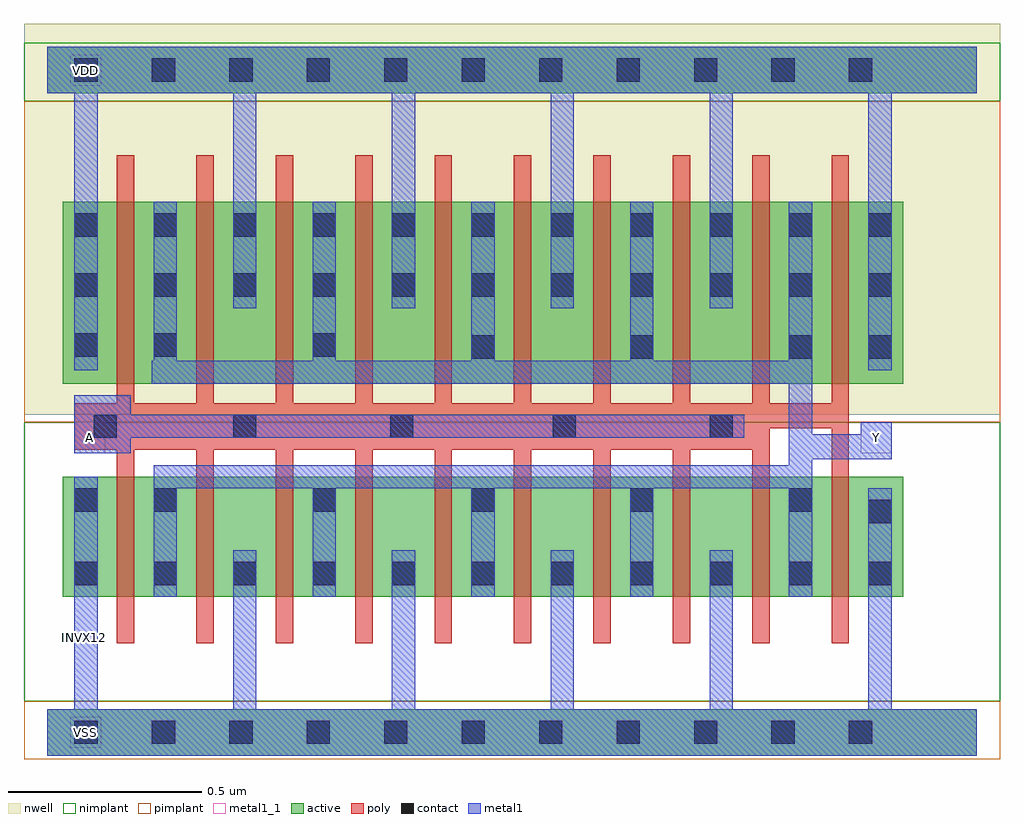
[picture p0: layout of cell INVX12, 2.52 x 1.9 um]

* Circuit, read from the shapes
.subckt INVX12 A VDD VSS Y
M1 Y A VSS VSS nfet w=0.31u l=0.045u m=10
M2 Y A VDD VDD pfet w=0.47u l=0.045u m=10
.ends

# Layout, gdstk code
import gdstk
lib = gdstk.Library(unit=1e-6, precision=5e-10)
def R(c, l, rs):  # rectangles x0, y0, x1, y1
    for r in rs: c.add(gdstk.rectangle(r[:2], r[2:], *l))
def A(c, l, x, y, w, h, nx, ny, dx, dy):  # array of equal rectangles
    R(c, l, [(x+i*dx, y+j*dy, x+i*dx+w, y+j*dy+h) for i in range(nx) for j in range(ny)])
def P(c, l, *ps):  # polygons
    for p in ps: c.add(gdstk.Polygon(p, *l))
active = (1, 0)
nwell = (2, 0)
poly = (3, 0)
nimplant = (4, 0)
pimplant = (5, 0)
contact = (6, 0)
metal1 = (7, 0)
metal1_1 = (7, 1)

invx12 = lib.new_cell('INVX12')
R(invx12, active, [(0,-0.06,2.4,0.06), (0.04,0.35,2.21,0.66), (0.04,0.9,2.21,1.37), (0,1.65,2.4,1.77)])
R(invx12, nwell, [(-0.06,0.82,2.46,1.83)])
P(invx12, poly, [(2.07,1.49),(2.025,1.49),(2.025,0.85),(1.865,0.85),(1.865,1.49),(1.82,1.49),(1.82,0.85),(1.66,0.85),(1.66,1.49),(1.615,1.49),(1.615,0.85),(1.455,0.85),(1.455,1.49),(1.41,1.49),(1.41,0.85),(1.25,0.85),(1.25,1.49),(1.205,1.49),(1.205,0.85),(1.045,0.85),(1.045,1.49),(1,1.49),(1,0.85),(0.84,0.85),(0.84,1.49),(0.795,1.49),(0.795,0.85),(0.635,0.85),(0.635,1.49),(0.59,1.49),(0.59,0.85),(0.43,0.85),(0.43,1.49),(0.385,1.49),(0.385,0.85),(0.225,0.85),(0.225,1.49),(0.18,1.49),(0.18,0.85),(0.07,0.85),(0.07,0.73),(0.18,0.73),(0.18,0.23),(0.225,0.23),(0.225,0.73),(0.385,0.73),(0.385,0.23),(0.43,0.23),(0.43,0.73),(0.59,0.73),(0.59,0.23),(0.635,0.23),(0.635,0.73),(0.795,0.73),(0.795,0.23),(0.84,0.23),(0.84,0.73),(1,0.73),(1,0.23),(1.045,0.23),(1.045,0.73),(1.205,0.73),(1.205,0.23),(1.25,0.23),(1.25,0.73),(1.41,0.73),(1.41,0.23),(1.455,0.23),(1.455,0.73),(1.615,0.73),(1.615,0.23),(1.66,0.23),(1.66,0.73),(1.82,0.73),(1.82,0.23),(1.865,0.23),(1.865,0.785),(2.025,0.785),(2.025,0.23),(2.07,0.23)])
R(invx12, nimplant, [(-0.06,0.08,2.46,0.8), (-0.06,1.63,2.46,1.78)])
R(invx12, pimplant, [(-0.06,-0.07,2.46,0.08), (-0.06,0.8,2.46,1.63)])
A(invx12, contact, 0.07, -0.03, 0.06, 0.06, 11, 2, 0.2, 1.71)
A(invx12, contact, 0.07, 0.38, 0.06, 0.06, 11, 2, 0.205, 0.745)
A(invx12, contact, 0.275, 0.57, 0.06, 0.06, 5, 1, 0.41, 0)
A(invx12, contact, 1.095, 0.965, 0.06, 0.06, 3, 1, 0.41, 0)
A(invx12, contact, 0.07, 1.28, 0.06, 0.06, 11, 1, 0.205, 0)
R(invx12, contact, [(2.12,0.54,2.18,0.6), (0.07,0.57,0.13,0.63), (0.12,0.76,0.18,0.82), (0.48,0.76,0.54,0.82), (0.885,0.76,0.945,0.82), (1.305,0.76,1.365,0.82), (1.71,0.76,1.77,0.82), (2.12,0.965,2.18,1.025), (0.07,0.97,0.13,1.03), (0.275,0.97,0.335,1.03), (0.685,0.97,0.745,1.03)])
P(invx12, metal1, [(2.4,0.06),(2.18,0.06),(2.18,0.63),(2.12,0.63),(2.12,0.06),(1.77,0.06),(1.77,0.47),(1.71,0.47),(1.71,0.06),(1.36,0.06),(1.36,0.47),(1.3,0.47),(1.3,0.06),(0.95,0.06),(0.95,0.47),(0.89,0.47),(0.89,0.06),(0.54,0.06),(0.54,0.47),(0.48,0.47),(0.48,0.06),(0.13,0.06),(0.13,0.66),(0.07,0.66),(0.07,0.06),(0,0.06),(0,-0.06),(2.4,-0.06)],
  [(2.18,0.8),(2.1,0.8),(2.1,0.77),(1.975,0.77),(1.975,1.37),(1.915,1.37),(1.915,0.96),(1.565,0.96),(1.565,1.37),(1.505,1.37),(1.505,0.96),(1.155,0.96),(1.155,1.37),(1.095,1.37),(1.095,0.96),(0.745,0.96),(0.745,1.37),(0.685,1.37),(0.685,0.96),(0.335,0.96),(0.335,1.37),(0.275,1.37),(0.275,0.96),(0.27,0.96),(0.27,0.9),(1.915,0.9),(1.915,0.69),(0.275,0.69),(0.275,0.35),(0.335,0.35),(0.335,0.63),(0.685,0.63),(0.685,0.35),(0.745,0.35),(0.745,0.63),(1.095,0.63),(1.095,0.35),(1.155,0.35),(1.155,0.63),(1.505,0.63),(1.505,0.35),(1.565,0.35),(1.565,0.63),(1.915,0.63),(1.915,0.35),(1.975,0.35),(1.975,0.705),(2.18,0.705)],
  [(2.4,1.77),(0,1.77),(0,1.65),(0.07,1.65),(0.07,0.935),(0.13,0.935),(0.13,1.65),(0.48,1.65),(0.48,1.095),(0.54,1.095),(0.54,1.65),(0.89,1.65),(0.89,1.095),(0.95,1.095),(0.95,1.65),(1.3,1.65),(1.3,1.095),(1.36,1.095),(1.36,1.65),(1.71,1.65),(1.71,1.095),(1.77,1.095),(1.77,1.65),(2.12,1.65),(2.12,0.935),(2.18,0.935),(2.18,1.65),(2.4,1.65)],
  [(1.8,0.82),(0.215,0.82),(0.215,0.87),(0.07,0.87),(0.07,0.72),(0.215,0.72),(0.215,0.76),(1.8,0.76)])
R(invx12, metal1_1, [(0.06,-0.04,0.14,0.04), (0.07,0.72,0.15,0.8), (2.1,0.72,2.18,0.8), (0.06,1.67,0.14,1.75)])
invx12.add(gdstk.Label('Y', (2.14,0.76), layer=7, texttype=1))
invx12.add(gdstk.Label('VSS', (0.1,0), layer=7, texttype=1))
invx12.add(gdstk.Label('A', (0.11,0.76), layer=7, texttype=1))
invx12.add(gdstk.Label('VDD', (0.1,1.71), layer=7, texttype=1))
invx12.add(gdstk.Label('INVX12', (0.095,0.245), layer=63, texttype=0))

lib.write_gds('INVX12.gds')
